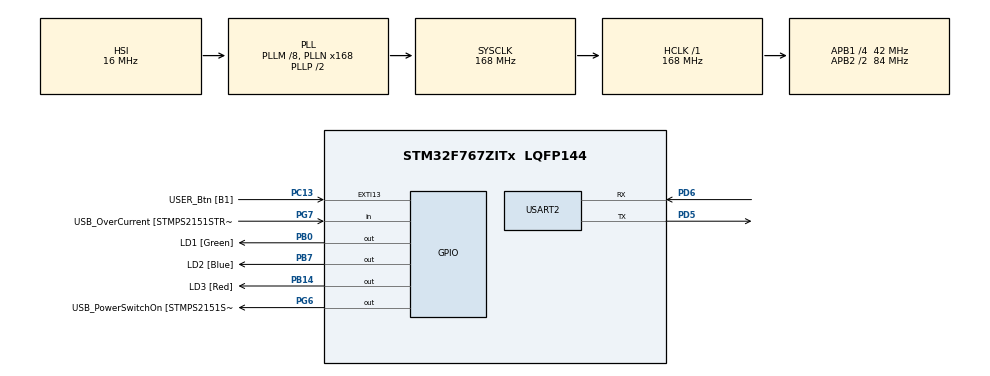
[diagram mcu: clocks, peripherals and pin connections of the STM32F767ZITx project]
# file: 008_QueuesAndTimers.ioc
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Mcu.Family=STM32F7
Mcu.Name=STM32F767ZITx
Mcu.Package=LQFP144
NVIC.PriorityGroup=NVIC_PRIORITYGROUP_4
NVIC.TIM6_DAC_IRQn=true\:15\:0\:false\:false\:true\:false\:true\:true
NVIC.TimeBase=TIM6_DAC_IRQn
NVIC.TimeBaseIP=TIM6
NVIC.USART2_IRQn=true\:6\:0\:true\:false\:true\:true\:true\:true
PA1.GPIO_Label=RMII_REF_CLK [LAN8742A-CZ-TR_REFCLK0]
PA1.Signal=ETH_REF_CLK
PA10.GPIO_Label=USB_ID
PA10.Signal=USB_OTG_FS_ID
PA11.GPIO_Label=USB_DM
PA11.Signal=USB_OTG_FS_DM
PA12.GPIO_Label=USB_DP
PA12.Signal=USB_OTG_FS_DP
PA13.GPIO_Label=TMS
PA13.Signal=SYS_JTMS-SWDIO
PA14.GPIO_Label=TCK
PA14.Signal=SYS_JTCK-SWCLK
PA2.GPIO_Label=RMII_MDIO [LAN8742A-CZ-TR_MDIO]
PA2.Signal=ETH_MDIO
PA7.GPIO_Label=RMII_CRS_DV [LAN8742A-CZ-TR_CRS_DV]
PA7.Signal=ETH_CRS_DV
PA8.GPIO_Label=USB_SOF [TP1]
PA8.Signal=USB_OTG_FS_SOF
PA9.GPIO_Label=USB_VBUS
PA9.Signal=USB_OTG_FS_VBUS
PB0.GPIO_Label=LD1 [Green]
PB0.Signal=GPIO_Output
PB13.GPIO_Label=RMII_TXD1 [LAN8742A-CZ-TR_TXD1]
PB13.Signal=ETH_TXD1
PB14.GPIO_Label=LD3 [Red]
PB14.Signal=GPIO_Output
PB3.GPIO_Label=SW0
PB3.Signal=SYS_JTDO-SWO
PB7.GPIO_Label=LD2 [Blue]
PB7.Signal=GPIO_Output
PC1.GPIO_Label=RMII_MDC [LAN8742A-CZ-TR_MDC]
PC1.Signal=ETH_MDC
PC13.GPIO_Label=USER_Btn [B1]
PC13.Signal=GPXTI13
PC14/OSC32_IN.Signal=RCC_OSC32_IN
PC15/OSC32_OUT.Signal=RCC_OSC32_OUT
PC4.GPIO_Label=RMII_RXD0 [LAN8742A-CZ-TR_RXD0]
PC4.Signal=ETH_RXD0
PC5.GPIO_Label=RMII_RXD1 [LAN8742A-CZ-TR_RXD1]
PC5.Signal=ETH_RXD1
PD5.Mode=Asynchronous
PD5.Signal=USART2_TX
PD6.Mode=Asynchronous
PD6.Signal=USART2_RX
PD8.GPIO_Label=STLK_RX [STM32F103CBT6_PA3]
PD8.Signal=USART3_TX
PD9.GPIO_Label=STLK_TX [STM32F103CBT6_PA2]
PD9.Signal=USART3_RX
PG11.GPIO_Label=RMII_TX_EN [LAN8742A-CZ-TR_TXEN]
PG11.Signal=ETH_TX_EN
PG13.GPIO_Label=RMII_TXD0 [LAN8742A-CZ-TR_TXD0]
PG13.Signal=ETH_TXD0
PG6.GPIO_Label=USB_PowerSwitchOn [STMPS2151STR_EN]
PG6.Signal=GPIO_Output
PG7.GPIO_Label=USB_OverCurrent [STMPS2151STR_FAULT]
PG7.Signal=GPIO_Input
PH0/OSC_IN.GPIO_Label=MCO [STM32F103CBT6_PA8]
PH0/OSC_IN.Signal=RCC_OSC_IN
PH1/OSC_OUT.Signal=RCC_OSC_OUT
ProjectManager.HeapSize=0x1000
ProjectManager.StackSize=0x2000
ProjectManager.TargetToolchain=STM32CubeIDE
RCC.48MHZClocksFreq_Value=24000000
RCC.AHBFreq_Value=168000000
RCC.APB1CLKDivider=RCC_HCLK_DIV4
RCC.APB1Freq_Value=42000000
RCC.APB1TimFreq_Value=84000000
RCC.APB2CLKDivider=RCC_HCLK_DIV2
RCC.APB2Freq_Value=84000000
RCC.APB2TimFreq_Value=168000000
RCC.CortexFreq_Value=168000000
RCC.HCLKFreq_Value=168000000
RCC.HSE_VALUE=16000000
RCC.HSI_VALUE=16000000
RCC.LSE_VALUE=32768
RCC.PLLM=8
RCC.PLLMUL=RCC_PLL_MUL9
RCC.PLLN=168
RCC.PRESCALERUSB=RCC_USBCLKSOURCE_PLL_DIV1_5
RCC.SYSCLKFreq_VALUE=168000000
RCC.SYSCLKSource=RCC_SYSCLKSOURCE_PLLCLK
RCC.SYSCLKSourceVirtual=RCC_SYSCLKSOURCE_PLLCLK
RCC.USBFreq_Value=168000000
RCC.VCOOutputFreq_Value=336000000
RTC.HourFormat=RTC_HOURFORMAT_12
USART2.VirtualMode-Asynchronous=VM_ASYNC
VP_RTC_VS_RTC_Activate.Mode=RTC_Enabled
VP_SYS_VS_tim6.Mode=TIM6
board=NUCLEO-F767ZI

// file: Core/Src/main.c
/* USER CODE BEGIN Header */
/**
  ******************************************************************************
  * @file           : main.c
  * @brief          : Main program body
  ******************************************************************************
  * @attention
  *
  * Copyright (c) 2024 STMicroelectronics.
  * All rights reserved.
  *
  * This software is licensed under terms that can be found in the LICENSE file
  * in the root directory of this software component.
  * If no LICENSE file comes with this software, it is provided AS-IS.
  *
  ******************************************************************************
  */
/* USER CODE END Header */
#include "main.h"

RTC_HandleTypeDef hrtc;

UART_HandleTypeDef huart2;

/* USER CODE BEGIN PV */
volatile uint8_t user_data;
/* USER CODE END PV */

void SystemClock_Config(void);
static void MX_GPIO_Init(void);
static void MX_RTC_Init(void);
static void MX_USART2_UART_Init(void);
/* USER CODE BEGIN PFP */
void led_effect_callback(TimerHandle_t xTimer);
void rtc_report_callback( TimerHandle_t xTimer );
/* USER CODE END PFP */

/* USER CODE BEGIN 0 */
state_t curr_state = sMainMenu;
QueueHandle_t q_print;
QueueHandle_t q_data;
BaseType_t status;
TaskHandle_t handle_print_task;
TaskHandle_t handle_menu_task;
TaskHandle_t handle_led_task;
TaskHandle_t handle_rtc_task;
TaskHandle_t handle_cmd_task;
//software timer handle
TimerHandle_t handle_led_timer[4];
TimerHandle_t rtc_timer;
/* USER CODE END 0 */

int main(void)
{

  /* MCU Configuration--------------------------------------------------------*/

  /* Reset of all peripherals, Initializes the Flash interface and the Systick. */
  HAL_Init();

  /* Configure the system clock */
  SystemClock_Config();

  /* Initialize all configured peripherals */
  MX_GPIO_Init();
  MX_RTC_Init();
  MX_USART2_UART_Init();
  /* USER CODE BEGIN 2 */
  status  = xTaskCreate(print_task, "print_task", 250, NULL,2, &handle_print_task);
  configASSERT(status==pdPASS);
  status  = xTaskCreate(menu_task, "menu_task", 250, NULL,2, &handle_menu_task);
  configASSERT(status==pdPASS);
  status  = xTaskCreate(led_task, "led_task", 250, NULL,2, &handle_led_task);
  configASSERT(status==pdPASS);
  status  = xTaskCreate(rtc_task, "rtc_task", 250, NULL,2, &handle_rtc_task);
  configASSERT(status==pdPASS);
  status  = xTaskCreate(cmd_handler_task, "cmd_handler_task", 250, NULL,2, &handle_cmd_task);
  configASSERT(status==pdPASS);
  q_data = xQueueCreate(10, sizeof(char));
  configASSERT(q_data!=NULL);
  q_print = xQueueCreate(10,sizeof(size_t));
  configASSERT(q_print!=NULL);

  for (int i=0;i<4;i++)
		handle_led_timer[i] = xTimerCreate("led timer", pdMS_TO_TICKS(500), pdTRUE, (void*)i+1, led_effect_callback);
  rtc_timer = xTimerCreate ("rtc_report_timer",pdMS_TO_TICKS(1000),pdTRUE,NULL,rtc_report_callback);
  HAL_UART_Receive_IT(&huart2, (void*)&user_data, 1);
  vTaskStartScheduler();
  /* USER CODE END 2 */

  /* Infinite loop */
  while (1)
  {

  }
}

void SystemClock_Config(void)
{
  RCC_OscInitTypeDef RCC_OscInitStruct = {0};
  RCC_ClkInitTypeDef RCC_ClkInitStruct = {0};

  /** Configure the main internal regulator output voltage
  */
  __HAL_RCC_PWR_CLK_ENABLE();
  __HAL_PWR_VOLTAGESCALING_CONFIG(PWR_REGULATOR_VOLTAGE_SCALE2);

  /** Initializes the RCC Oscillators according to the specified parameters
  * in the RCC_OscInitTypeDef structure.
  */
  RCC_OscInitStruct.OscillatorType = RCC_OSCILLATORTYPE_HSI|RCC_OSCILLATORTYPE_LSI;
  RCC_OscInitStruct.HSIState = RCC_HSI_ON;
  RCC_OscInitStruct.HSICalibrationValue = RCC_HSICALIBRATION_DEFAULT;
  RCC_OscInitStruct.LSIState = RCC_LSI_ON;
  RCC_OscInitStruct.PLL.PLLState = RCC_PLL_ON;
  RCC_OscInitStruct.PLL.PLLSource = RCC_PLLSOURCE_HSI;
  RCC_OscInitStruct.PLL.PLLM = 8;
  RCC_OscInitStruct.PLL.PLLN = 168;
  RCC_OscInitStruct.PLL.PLLP = RCC_PLLP_DIV2;
  RCC_OscInitStruct.PLL.PLLQ = 2;
  RCC_OscInitStruct.PLL.PLLR = 2;
  if (HAL_RCC_OscConfig(&RCC_OscInitStruct) != HAL_OK)
  {
    Error_Handler();
  }

  /** Initializes the CPU, AHB and APB buses clocks
  */
  RCC_ClkInitStruct.ClockType = RCC_CLOCKTYPE_HCLK|RCC_CLOCKTYPE_SYSCLK
                              |RCC_CLOCKTYPE_PCLK1|RCC_CLOCKTYPE_PCLK2;
  RCC_ClkInitStruct.SYSCLKSource = RCC_SYSCLKSOURCE_PLLCLK;
  RCC_ClkInitStruct.AHBCLKDivider = RCC_SYSCLK_DIV1;
  RCC_ClkInitStruct.APB1CLKDivider = RCC_HCLK_DIV4;
  RCC_ClkInitStruct.APB2CLKDivider = RCC_HCLK_DIV2;

  if (HAL_RCC_ClockConfig(&RCC_ClkInitStruct, FLASH_LATENCY_5) != HAL_OK)
  {
    Error_Handler();
  }
}

static void MX_RTC_Init(void)
{

  /** Initialize RTC Only
  */
  hrtc.Instance = RTC;
  hrtc.Init.HourFormat = RTC_HOURFORMAT_12;
  hrtc.Init.AsynchPrediv = 127;
  hrtc.Init.SynchPrediv = 255;
  hrtc.Init.OutPut = RTC_OUTPUT_DISABLE;
  hrtc.Init.OutPutPolarity = RTC_OUTPUT_POLARITY_HIGH;
  hrtc.Init.OutPutType = RTC_OUTPUT_TYPE_OPENDRAIN;
  if (HAL_RTC_Init(&hrtc) != HAL_OK)
  {
    Error_Handler();
  }

}

static void MX_USART2_UART_Init(void)
{

  huart2.Instance = USART2;
  huart2.Init.BaudRate = 115200;
  huart2.Init.WordLength = UART_WORDLENGTH_8B;
  huart2.Init.StopBits = UART_STOPBITS_1;
  huart2.Init.Parity = UART_PARITY_NONE;
  huart2.Init.Mode = UART_MODE_TX_RX;
  huart2.Init.HwFlowCtl = UART_HWCONTROL_NONE;
  huart2.Init.OverSampling = UART_OVERSAMPLING_16;
  huart2.Init.OneBitSampling = UART_ONE_BIT_SAMPLE_DISABLE;
  huart2.AdvancedInit.AdvFeatureInit = UART_ADVFEATURE_NO_INIT;
  if (HAL_UART_Init(&huart2) != HAL_OK)
  {
    Error_Handler();
  }

}

static void MX_GPIO_Init(void)
{
  GPIO_InitTypeDef GPIO_InitStruct = {0};

  /* GPIO Ports Clock Enable */
  __HAL_RCC_GPIOC_CLK_ENABLE();
  __HAL_RCC_GPIOH_CLK_ENABLE();
  __HAL_RCC_GPIOA_CLK_ENABLE();
  __HAL_RCC_GPIOB_CLK_ENABLE();
  __HAL_RCC_GPIOD_CLK_ENABLE();
  __HAL_RCC_GPIOG_CLK_ENABLE();

  /*Configure GPIO pin Output Level */
  HAL_GPIO_WritePin(GPIOB, LD1_Pin|LD3_Pin|LD2_Pin, GPIO_PIN_RESET);

  /*Configure GPIO pin Output Level */
  HAL_GPIO_WritePin(USB_PowerSwitchOn_GPIO_Port, USB_PowerSwitchOn_Pin, GPIO_PIN_RESET);

  /*Configure GPIO pin : USER_Btn_Pin */
  GPIO_InitStruct.Pin = USER_Btn_Pin;
  GPIO_InitStruct.Mode = GPIO_MODE_IT_RISING;
  GPIO_InitStruct.Pull = GPIO_NOPULL;
  HAL_GPIO_Init(USER_Btn_GPIO_Port, &GPIO_InitStruct);

  /*Configure GPIO pins : RMII_MDC_Pin RMII_RXD0_Pin RMII_RXD1_Pin */
  GPIO_InitStruct.Pin = RMII_MDC_Pin|RMII_RXD0_Pin|RMII_RXD1_Pin;
  GPIO_InitStruct.Mode = GPIO_MODE_AF_PP;
  GPIO_InitStruct.Pull = GPIO_NOPULL;
  GPIO_InitStruct.Speed = GPIO_SPEED_FREQ_VERY_HIGH;
  GPIO_InitStruct.Alternate = GPIO_AF11_ETH;
  HAL_GPIO_Init(GPIOC, &GPIO_InitStruct);

  /*Configure GPIO pins : RMII_REF_CLK_Pin RMII_MDIO_Pin RMII_CRS_DV_Pin */
  GPIO_InitStruct.Pin = RMII_REF_CLK_Pin|RMII_MDIO_Pin|RMII_CRS_DV_Pin;
  GPIO_InitStruct.Mode = GPIO_MODE_AF_PP;
  GPIO_InitStruct.Pull = GPIO_NOPULL;
  GPIO_InitStruct.Speed = GPIO_SPEED_FREQ_VERY_HIGH;
  GPIO_InitStruct.Alternate = GPIO_AF11_ETH;
  HAL_GPIO_Init(GPIOA, &GPIO_InitStruct);

  /*Configure GPIO pins : LD1_Pin LD3_Pin LD2_Pin */
  GPIO_InitStruct.Pin = LD1_Pin|LD3_Pin|LD2_Pin;
  GPIO_InitStruct.Mode = GPIO_MODE_OUTPUT_PP;
  GPIO_InitStruct.Pull = GPIO_NOPULL;
  GPIO_InitStruct.Speed = GPIO_SPEED_FREQ_LOW;
  HAL_GPIO_Init(GPIOB, &GPIO_InitStruct);

  /*Configure GPIO pin : RMII_TXD1_Pin */
  GPIO_InitStruct.Pin = RMII_TXD1_Pin;
  GPIO_InitStruct.Mode = GPIO_MODE_AF_PP;
  GPIO_InitStruct.Pull = GPIO_NOPULL;
  GPIO_InitStruct.Speed = GPIO_SPEED_FREQ_VERY_HIGH;
  GPIO_InitStruct.Alternate = GPIO_AF11_ETH;
  HAL_GPIO_Init(RMII_TXD1_GPIO_Port, &GPIO_InitStruct);

  /*Configure GPIO pins : STLK_RX_Pin STLK_TX_Pin */
  GPIO_InitStruct.Pin = STLK_RX_Pin|STLK_TX_Pin;
  GPIO_InitStruct.Mode = GPIO_MODE_AF_PP;
  GPIO_InitStruct.Pull = GPIO_NOPULL;
  GPIO_InitStruct.Speed = GPIO_SPEED_FREQ_VERY_HIGH;
  GPIO_InitStruct.Alternate = GPIO_AF7_USART3;
  HAL_GPIO_Init(GPIOD, &GPIO_InitStruct);

  /*Configure GPIO pin : USB_PowerSwitchOn_Pin */
  GPIO_InitStruct.Pin = USB_PowerSwitchOn_Pin;
  GPIO_InitStruct.Mode = GPIO_MODE_OUTPUT_PP;
  GPIO_InitStruct.Pull = GPIO_NOPULL;
  GPIO_InitStruct.Speed = GPIO_SPEED_FREQ_LOW;
  HAL_GPIO_Init(USB_PowerSwitchOn_GPIO_Port, &GPIO_InitStruct);

  /*Configure GPIO pin : USB_OverCurrent_Pin */
  GPIO_InitStruct.Pin = USB_OverCurrent_Pin;
  GPIO_InitStruct.Mode = GPIO_MODE_INPUT;
  GPIO_InitStruct.Pull = GPIO_NOPULL;
  HAL_GPIO_Init(USB_OverCurrent_GPIO_Port, &GPIO_InitStruct);

  /*Configure GPIO pins : USB_SOF_Pin USB_ID_Pin USB_DM_Pin USB_DP_Pin */
  GPIO_InitStruct.Pin = USB_SOF_Pin|USB_ID_Pin|USB_DM_Pin|USB_DP_Pin;
  GPIO_InitStruct.Mode = GPIO_MODE_AF_PP;
  GPIO_InitStruct.Pull = GPIO_NOPULL;
  GPIO_InitStruct.Speed = GPIO_SPEED_FREQ_VERY_HIGH;
  GPIO_InitStruct.Alternate = GPIO_AF10_OTG_FS;
  HAL_GPIO_Init(GPIOA, &GPIO_InitStruct);

  /*Configure GPIO pin : USB_VBUS_Pin */
  GPIO_InitStruct.Pin = USB_VBUS_Pin;
  GPIO_InitStruct.Mode = GPIO_MODE_INPUT;
  GPIO_InitStruct.Pull = GPIO_NOPULL;
  HAL_GPIO_Init(USB_VBUS_GPIO_Port, &GPIO_InitStruct);

  /*Configure GPIO pins : RMII_TX_EN_Pin RMII_TXD0_Pin */
  GPIO_InitStruct.Pin = RMII_TX_EN_Pin|RMII_TXD0_Pin;
  GPIO_InitStruct.Mode = GPIO_MODE_AF_PP;
  GPIO_InitStruct.Pull = GPIO_NOPULL;
  GPIO_InitStruct.Speed = GPIO_SPEED_FREQ_VERY_HIGH;
  GPIO_InitStruct.Alternate = GPIO_AF11_ETH;
  HAL_GPIO_Init(GPIOG, &GPIO_InitStruct);

}

/* USER CODE BEGIN 4 */
void rtc_report_callback( TimerHandle_t xTimer )
{
	 show_time_date_itm();
}

void led_effect_callback(TimerHandle_t xTimer)
{
	int id;
	id = (uint32_t) pvTimerGetTimerID(xTimer);
	switch (id)
	{
		case 1:
			LED_effect1();
			break;
		case 2:
			LED_effect2();
			break;
		case 3:
			LED_effect3();
			break;
		case 4:
			LED_effect4();
			break;

	}
}
void vApplicationIdleHook()
{
	HAL_PWR_EnterSLEEPMode(PWR_MAINREGULATOR_ON, PWR_SLEEPENTRY_WFI);
}
void vAssertCalled( unsigned long ulLine, const char * const pcFileName )
{
//static portBASE_TYPE xPrinted = pdFALSE;
volatile uint32_t ulSetToNonZeroInDebuggerToContinue = 0;

    /* Parameters are not used. */
    ( void ) ulLine;
    ( void ) pcFileName;

    {
        /* You can step out of this function to debug the assertion by using
        the debugger to set ulSetToNonZeroInDebuggerToContinue to a non-zero
        value. */
        while( ulSetToNonZeroInDebuggerToContinue == 1 )
        {
        }
    }
    taskEXIT_CRITICAL();
}
void HAL_UART_RxCpltCallback(UART_HandleTypeDef *huart)
{

	uint8_t dummy;
	if(xQueueIsQueueFullFromISR( q_data ) == pdFALSE)
	{
		/*Queue is not full */
		xQueueSendToBackFromISR(q_data,(void*)&user_data,NULL);
		/*TODO: Enqueue data byte */

	}
	else{
		/*Queue is full */

		if( user_data == '\n')
		{
			/*user_data = '\n' */
			xQueueReceiveFromISR(q_data, (void*)&dummy, NULL);
			xQueueSendToBackFromISR(q_data,(void*)&user_data,NULL);
			/*TODO: make sure that last data byte of the queue is '\n' */
		}
	}
	/*Send notification to command handling task if user_data = '\n' */
		if( user_data == '\n' ){
			/*send notification to command handling task */
			xTaskNotifyFromISR (handle_cmd_task,0,eNoAction,NULL);
		}
	/*TODO: send notification to command handling task if user_data = '\n' */
	HAL_UART_Receive_IT(&huart2, (void*)&user_data, 1);
	/* TODO: Enable UART data byte reception again in IT mode */
}
/* USER CODE END 4 */

void HAL_TIM_PeriodElapsedCallback(TIM_HandleTypeDef *htim)
{
  if (htim->Instance == TIM6) {
    HAL_IncTick();
  }
}

void Error_Handler(void)
{
  __disable_irq();
  while (1)
  {
  }
}
